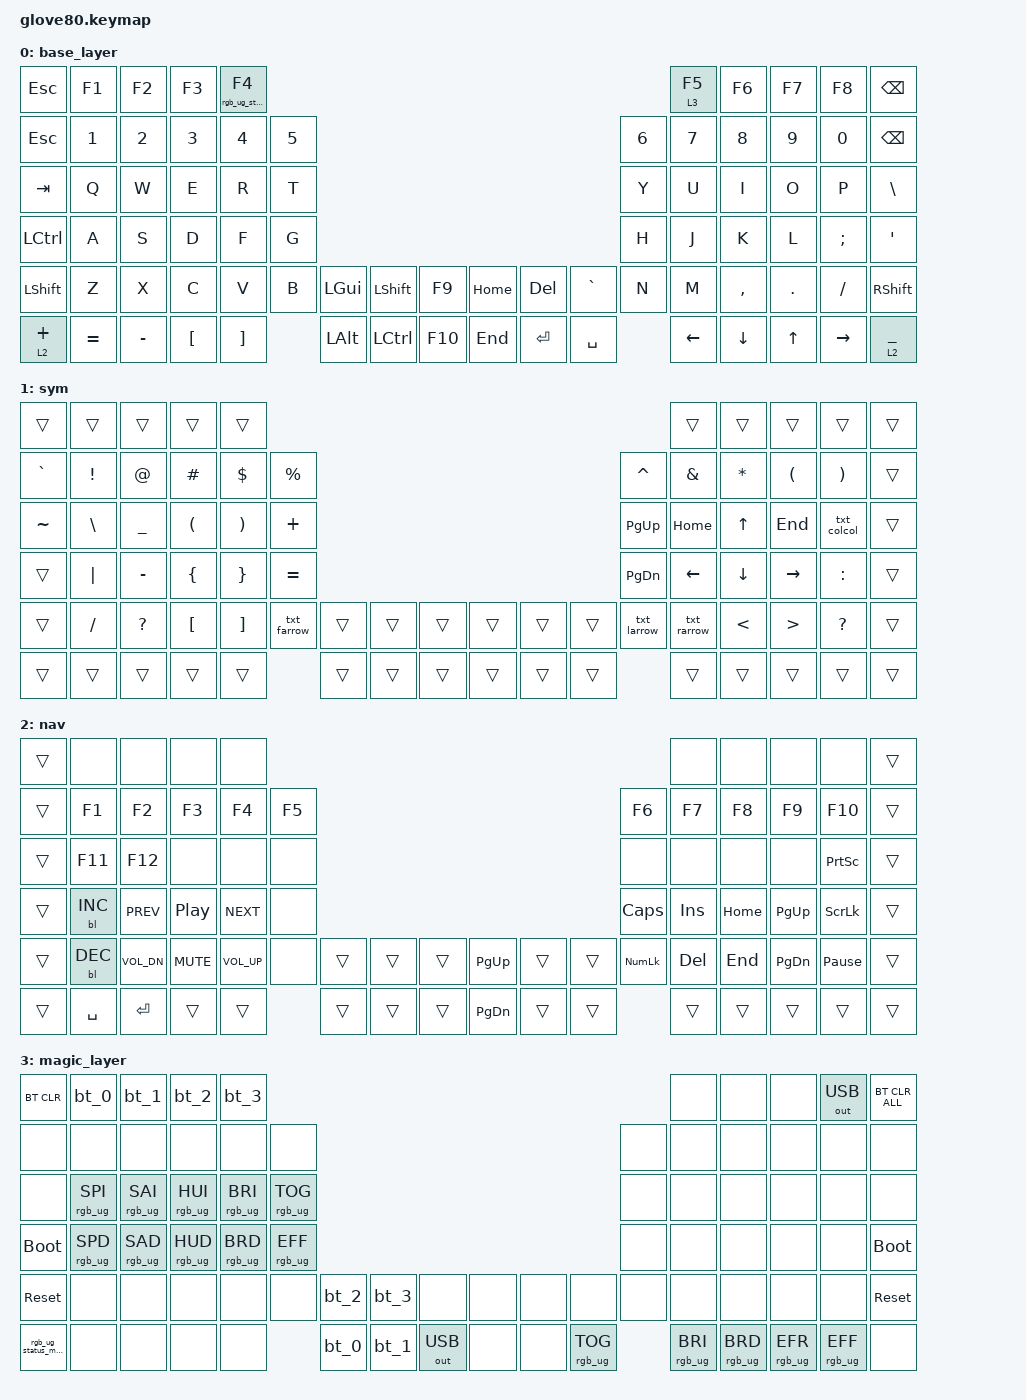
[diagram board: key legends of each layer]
/*
 * Copyright (c) 2020 The ZMK Contributors
 *
 * SPDX-License-Identifier: MIT
 */

#include <behaviors.dtsi>
#include <dt-bindings/zmk/backlight.h>
#include <dt-bindings/zmk/bt.h>
#include <dt-bindings/zmk/keys.h>
#include <dt-bindings/zmk/outputs.h>
#include <dt-bindings/zmk/rgb.h>

#define HYPER LC(LS(LG(LALT)))

// layers

#define DEFAULT 0
#define LOWER 1
#define MAGIC 2
#define FACTORY_TEST 3

&sk {
    quick-release;
    release-after-ms = <2000>;
};

&sl { release-after-ms = <2000>; };

/ {
    behaviors {
        // For the "layer" key, it'd nice to be able to use it as either a shift or a toggle.
        // Configure it as a tap dance, so the first tap (or hold) is a &mo and the second tap is a &to

        layer_td: tap_dance_0 {
            compatible = "zmk,behavior-tap-dance";
            label = "LAYER_TAP_DANCE";
            #binding-cells = <0>;
            tapping-term-ms = <200>;
            bindings = <&mo 0>, <&to 0>;
        };

        hrgbstatus_kp: hrgbstatus_kp {
            compatible = "zmk,behavior-hold-tap";
            label = "HRGBSTATUS_KP";
            #binding-cells = <2>;
            flavor = "tap-preferred";
            tapping-term-ms = <200>;
            bindings = <&rgb_ug_status_macro>, <&kp>;
        };

        magic: magic_hold_tap {
            compatible = "zmk,behavior-hold-tap";
            label = "MAGIC_HOLD_TAP";
            #binding-cells = <2>;
            flavor = "tap-preferred";
            tapping-term-ms = <200>;
            bindings = <&mo>, <&rgb_ug_status_macro>;
        };

        hp_mo: hp_mo {
            compatible = "zmk,behavior-hold-tap";
            label = "HP_MO";
            bindings = <&mo>, <&kp>;

            #binding-cells = <2>;
            flavor = "hold-preferred";
            tapping-term-ms = <200>;
            quick-tap-ms = <200>;
        };

        ht_lthumb1: ht_lthumb1 {
            compatible = "zmk,behavior-hold-tap";
            label = "HT_LTHUMB1";
            bindings = <&kp>, <&kp>;

            #binding-cells = <2>;
            tapping-term-ms = <180>;
            hold-trigger-key-positions = <0 1 2 3 4 5 6 7 8 9 10 11 12 13 14 15 16 17 18 19 20 21 22 23 24 25 26 27 28 29 30 31 32 33 34 35 36 37 38 39 40 41 42 43 44 45 46 47 48 49 50 51 52 53 54 55 56 57 58 59 60 61 62 63 64 65 66 67 68 70 71 72 73 74 75 76 77 78 79>;
            flavor = "balanced";
            quick-tap-ms = <125>;
        };

        ht_lthumb2: ht_lthumb2 {
            compatible = "zmk,behavior-hold-tap";
            label = "HT_LTHUMB2";
            bindings = <&kp>, <&kp>;

            #binding-cells = <2>;
            tapping-term-ms = <180>;
            hold-trigger-key-positions = <0 1 2 3 4 5 6 7 8 9 10 11 12 13 14 15 16 17 18 19 20 21 22 23 24 25 26 27 28 29 30 31 32 33 34 35 36 37 38 39 40 41 42 43 44 45 46 47 48 49 50 51 52 53 54 55 56 57 58 59 60 61 62 63 64 65 66 67 68 71 72 73 74 75 76 77 78 79 69>;
            quick-tap-ms = <125>;
            flavor = "balanced";
        };
    };

    macros {
        lm: lm {
            label = "lm";
            compatible = "zmk,behavior-macro-two-param";
            wait-ms = <0>;
            tap-ms = <0>;
            #binding-cells = <2>;
            bindings =
                <&macro_param_1to1>,
                <&macro_press>,
                <&mo MACRO_PLACEHOLDER &macro_param_2to1>,
                <&macro_press>,
                <&kp MACRO_PLACEHOLDER>,
                <&macro_pause_for_release>,
                <&macro_param_2to1>,
                <&macro_release>,
                <&kp MACRO_PLACEHOLDER &macro_param_1to1>,
                <&macro_release>,
                <&mo MACRO_PLACEHOLDER>;
        };

        rgb_ug_status_macro: rgb_ug_status_macro_0 {
            label = "RGB_UG_STATUS";
            compatible = "zmk,behavior-macro";
            #binding-cells = <0>;
            bindings = <&rgb_ug RGB_STATUS>;
        };

        bt_0: bt_profile_macro_0 {
            label = "BT_0";
            compatible = "zmk,behavior-macro";
            #binding-cells = <0>;
            bindings = <&out OUT_BLE &bt BT_SEL 0>;
        };

        bt_1: bt_profile_macro_1 {
            label = "BT_1";
            compatible = "zmk,behavior-macro";
            #binding-cells = <0>;
            bindings = <&out OUT_BLE &bt BT_SEL 1>;
        };

        bt_2: bt_profile_macro_2 {
            label = "BT_2";
            compatible = "zmk,behavior-macro";
            #binding-cells = <0>;
            bindings = <&out OUT_BLE &bt BT_SEL 2>;
        };

        bt_3: bt_profile_macro_3 {
            label = "BT_3";
            compatible = "zmk,behavior-macro";
            #binding-cells = <0>;
            bindings = <&out OUT_BLE &bt BT_SEL 3>;
        };

        to_base_layer: to_base_layer {
            compatible = "zmk,behavior-macro";
            #binding-cells = <0>;
            bindings = <&to 0 &rgb_ug RGB_COLOR_HSB(184,100,3)>;
            label = "TO_BASE_LAYER";
            wait-ms = <20>;
            tap-ms = <20>;
        };

        to_numpad_layer: to_numpad_layer {
            compatible = "zmk,behavior-macro";
            #binding-cells = <0>;
            bindings = <&to 0 &rgb_ug RGB_COLOR_HSB(280,100,2)>;
            label = "TO_NUMPAD_LAYER";
            wait-ms = <20>;
            tap-ms = <20>;
        };

        to_ham_keys: to_ham_keys {
            compatible = "zmk,behavior-macro";
            #binding-cells = <0>;
            bindings = <&to 0 &rgb_ug RGB_COLOR_HSB(37,100,3)>;
            label = "TO_HAM_KEYS";
            wait-ms = <20>;
            tap-ms = <20>;
        };

        txt_rarrow: txt_rarrow {
            compatible = "zmk,behavior-macro";
            #binding-cells = <0>;
            bindings = <&kp MINUS &kp GT>;
            label = "TXT_RARROW";
            wait-ms = <1>;
            tap-ms = <1>;
        };

        txt_colcol: txt_colcol {
            compatible = "zmk,behavior-macro";
            #binding-cells = <0>;
            bindings = <&kp COLON &kp COLON>;
            label = "TXT_COLCOL";
            wait-ms = <1>;
            tap-ms = <1>;
        };

        txt_farrow: txt_farrow {
            compatible = "zmk,behavior-macro";
            #binding-cells = <0>;
            bindings = <&kp EQUAL &kp GT>;
            label = "TXT_FARROW";
            wait-ms = <1>;
            tap-ms = <1>;
        };

        txt_larrow: txt_larrow {
            compatible = "zmk,behavior-macro";
            #binding-cells = <0>;
            bindings = <&kp LT &kp MINUS>;
            label = "TXT_LARROW";
            wait-ms = <1>;
            tap-ms = <1>;
        };

        txt_ddd: txt_ddd {
            compatible = "zmk,behavior-macro";
            #binding-cells = <0>;
            bindings = <&kp DOT &kp DOT &kp DOT>;
            label = "TXT_DDD";
            wait-ms = <1>;
            tap-ms = <1>;
        };
    };

    combos {
        compatible = "zmk,combos";

        df {
            bindings = <&kp BACKSPACE>;
            key-positions = <37 38>;
            timeout-ms = <50>;
        };

        xc {
            bindings = <&kp LA(BACKSPACE)>;
            key-positions = <48 49>;
        };

        cv {
            bindings = <&kp LC(BACKSPACE)>;
            key-positions = <49 50>;
            timeout-ms = <50>;
        };

        jk {
            bindings = <&kp BACKSPACE>;
            key-positions = <41 42>;
            timeout-ms = <50>;
        };

        kl {
            bindings = <&kp DELETE>;
            key-positions = <42 43>;
            timeout-ms = <50>;
        };
    };

    keymap {
        compatible = "zmk,keymap";

        base_layer {
            // ---------------------------------------------------------------------------------------------------------------------------------
            // |  F1   |  F2 |  F3 |  F4  |  F5  |                                                               |  F6   |  F7   |  F8  |   F9  |  F10 |
            // |  =    |  1  |  2  |  3   |  4   |  5   |                                                 |  6   |   7   |   8   |  9   |   0   |   -  |
            // |  TAB  |  Q  |  W  |  E   |  R   |  T   |                                                 |  Y   |   U   |   I   |  O   |   P   |   \  |
            // |  ESC  |  A  |  S  |  D   |  F   |  G   |                                                 |  H   |   J   |   K   |  L   |   ;   |   '  |
            // |   `   |  Z  |  X  |  C   |  V   |  B   | LSHFT | LCTRL | LOWER | | LGUI  | RCTRL | RSHFT |  N   |   M   |   ,   |  .   |   /   | PGUP |
            // | MAGIC | HOME| END | LEFT | RIGHT|      | BSPC  | DEL   | LALT  | | RALT  | RET   | SPACE |      |  UP   | DOWN  |  [   |   ]   | PGDN |

            bindings = <
&kp ESCAPE  &kp F1     &kp F2     &kp F3    &hrgbstatus_kp 0 F4                                                                                      &hp_mo 3 F5  &kp F6     &kp F7   &kp F8     &kp BACKSPACE
&kp ESCAPE  &kp N1     &kp N2     &kp N3    &kp N4               &kp N5                                                                      &kp N6  &kp N7       &kp N8     &kp N9   &kp N0     &kp BACKSPACE
&kp TAB     &kp Q      &kp W      &kp E     &kp R                &kp T                                                                       &kp Y   &kp U        &kp I      &kp O    &kp P      &kp BACKSLASH
&kp LCTRL   &kp A      &kp S      &kp D     &kp F                &kp G                                                                       &kp H   &kp J        &kp K      &kp L    &kp SEMI   &kp SQT
&kp LSHIFT  &kp Z      &kp X      &kp C     &kp V                &kp B   &kp LEFT_GUI  &kp LSHIFT  &kp F9   &kp HOME  &kp DELETE  &kp GRAVE  &kp N   &kp M        &kp COMMA  &kp DOT  &kp SLASH  &kp RSHIFT
&lt 2 PLUS  &kp EQUAL  &kp MINUS  &kp LBKT  &kp RBKT                     &kp LALT      &kp LCTRL   &kp F10  &kp END   &kp ENTER   &kp SPACE          &kp LEFT     &kp DOWN   &kp UP   &kp RIGHT  &lt 2 UNDER
            >;
        };

        sym {
            bindings = <
&trans     &trans         &trans        &trans     &trans                                                                                &trans       &trans    &trans     &trans        &trans
&kp GRAVE  &kp EXCL       &kp AT        &kp POUND  &kp DOLLAR  &kp PERCENT                                                  &kp CARET    &kp AMPS     &kp STAR  &kp LPAR   &kp RPAR      &trans
&kp TILDE  &kp BACKSLASH  &kp UNDER     &kp LPAR   &kp RPAR    &kp PLUS                                                     &kp PG_UP    &kp HOME     &kp UP    &kp END    &txt_colcol   &trans
&trans     &kp PIPE       &kp MINUS     &kp LBRC   &kp RBRC    &kp EQUAL                                                    &kp PG_DN    &kp LEFT     &kp DOWN  &kp RIGHT  &kp COLON     &trans
&trans     &kp SLASH      &kp QUESTION  &kp LBKT   &kp RBKT    &txt_farrow  &trans  &trans  &trans  &trans  &trans  &trans  &txt_larrow  &txt_rarrow  &kp LT    &kp GT     &kp QUESTION  &trans
&trans     &trans         &trans        &trans     &trans                   &trans  &trans  &trans  &trans  &trans  &trans               &trans       &trans    &trans     &trans        &trans
            >;
        };

        nav {
            bindings = <
&trans  &none       &none         &none       &none                                                                                    &none       &none     &none          &none            &trans
&trans  &kp F1      &kp F2        &kp F3      &kp F4        &kp F5                                                     &kp F6          &kp F7      &kp F8    &kp F9         &kp F10          &trans
&trans  &kp F11     &kp F12       &none       &none         &none                                                      &none           &none       &none     &none          &kp PRINTSCREEN  &trans
&trans  &bl BL_INC  &kp C_PREV    &kp C_PP    &kp C_NEXT    &none                                                      &kp CLCK        &kp INSERT  &kp HOME  &kp PG_UP      &kp SCROLLLOCK   &trans
&trans  &bl BL_DEC  &kp C_VOL_DN  &kp C_MUTE  &kp C_VOL_UP  &none   &trans  &trans  &trans  &kp PG_UP  &trans  &trans  &kp KP_NUMLOCK  &kp DEL     &kp END   &kp PAGE_DOWN  &kp PAUSE_BREAK  &trans
&trans  &kp SPACE   &kp ENTER     &trans      &trans                &trans  &trans  &trans  &kp PG_DN  &trans  &trans                  &trans      &trans    &trans         &trans           &trans
            >;
        };

        magic_layer {
            bindings = <
&bt BT_CLR            &bt_0            &bt_1            &bt_2            &bt_3                                                                                               &none            &none            &none            &out OUT_USB     &bt BT_CLR_ALL
&none                 &none            &none            &none            &none            &none                                                                       &none  &none            &none            &none            &none            &none
&none                 &rgb_ug RGB_SPI  &rgb_ug RGB_SAI  &rgb_ug RGB_HUI  &rgb_ug RGB_BRI  &rgb_ug RGB_TOG                                                             &none  &none            &none            &none            &none            &none
&bootloader           &rgb_ug RGB_SPD  &rgb_ug RGB_SAD  &rgb_ug RGB_HUD  &rgb_ug RGB_BRD  &rgb_ug RGB_EFF                                                             &none  &none            &none            &none            &none            &bootloader
&sys_reset            &none            &none            &none            &none            &none            &bt_2  &bt_3  &none         &none  &none  &none            &none  &none            &none            &none            &none            &sys_reset
&rgb_ug_status_macro  &none            &none            &none            &none                             &bt_0  &bt_1  &out OUT_USB  &none  &none  &rgb_ug RGB_TOG         &rgb_ug RGB_BRI  &rgb_ug RGB_BRD  &rgb_ug RGB_EFR  &rgb_ug RGB_EFF  &none
            >;
        };
    };
};
